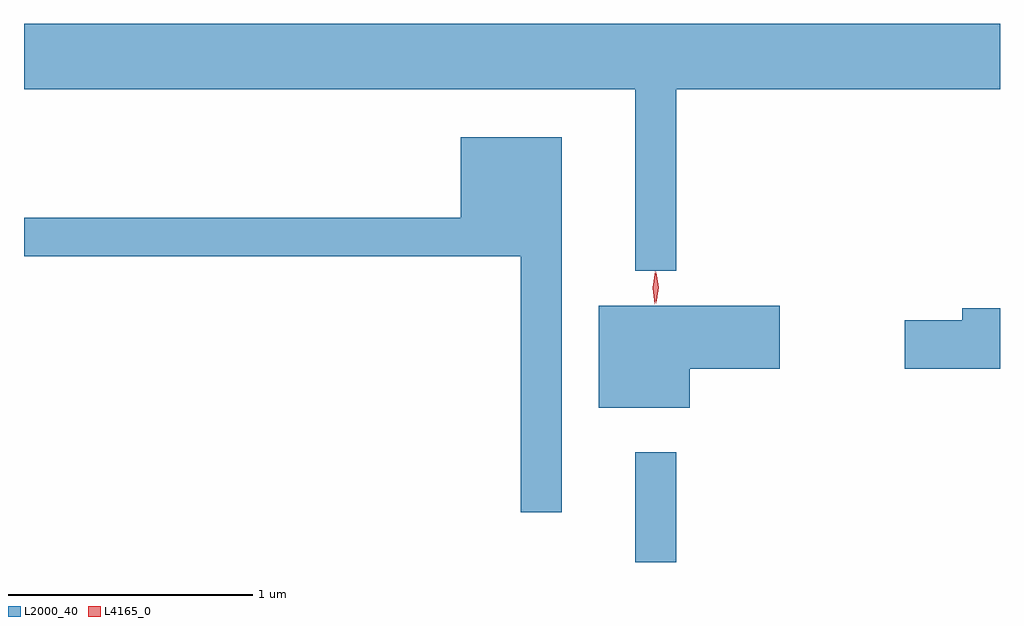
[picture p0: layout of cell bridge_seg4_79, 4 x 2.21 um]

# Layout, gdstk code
import gdstk
lib = gdstk.Library(unit=1e-6, precision=1e-09)
def R(c, l, rs):  # rectangles x0, y0, x1, y1
    for r in rs: c.add(gdstk.rectangle(r[:2], r[2:], *l))
def P(c, l, *ps):  # polygons
    for p in ps: c.add(gdstk.Polygon(p, *l))
L2000_40 = (2000, 40)
L4165_0 = (4165, 0)

bridge_seg4_79 = lib.new_cell('bridge_seg4_79')
R(bridge_seg4_79, L2000_40, [(1843.641,1383.818,1843.809,1384.268)])
P(bridge_seg4_79, L2000_40, [(1843.809,1385.756),(1845.136,1385.756),(1845.136,1386.024),(1841.136,1386.024),(1841.136,1385.756),(1843.641,1385.756),(1843.641,1385.013),(1843.809,1385.013)],
  [(1843.339,1385.559),(1842.926,1385.559),(1842.926,1385.229),(1841.136,1385.229),(1841.136,1385.071),(1843.171,1385.071),(1843.171,1384.023),(1843.339,1384.023)],
  [(1843.864,1384.611),(1844.234,1384.611),(1844.234,1384.869),(1843.491,1384.869),(1843.491,1384.451),(1843.864,1384.451)],
  [(1845.136,1384.859),(1844.981,1384.859),(1844.981,1384.809),(1844.746,1384.809),(1844.746,1384.611),(1845.136,1384.611)])
P(bridge_seg4_79, L4165_0, [(1843.721,1384.874),(1843.712,1384.942),(1843.723,1385.01),(1843.723,1385.01),(1843.724,1385.01),(1843.732,1384.942),(1843.722,1384.874),(1843.722,1384.874)],
  [(1843.727,1384.88),(1843.718,1384.944),(1843.727,1385.006),(1843.728,1385.007),(1843.728,1385.006),(1843.738,1384.944),(1843.728,1384.88),(1843.728,1384.88)])

lib.write_gds('bridge_seg4_79.gds')
